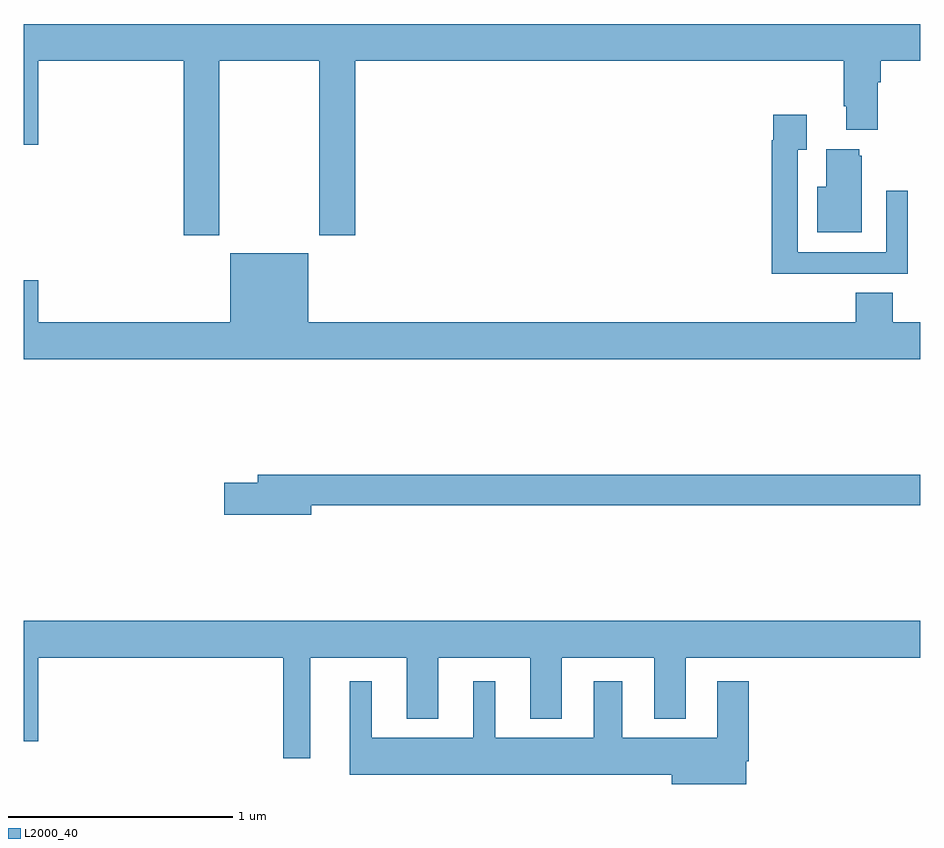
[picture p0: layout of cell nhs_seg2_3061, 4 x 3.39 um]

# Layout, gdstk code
import gdstk
lib = gdstk.Library(unit=1e-6, precision=1e-09)
def P(c, l, *ps):  # polygons
    for p in ps: c.add(gdstk.Polygon(p, *l))
L2000_40 = (2000, 40)

nhs_seg2_3061 = lib.new_cell('nhs_seg2_3061')
P(nhs_seg2_3061, L2000_40, [(273.873,589.028),(274.318,589.028),(274.318,588.249),(274.478,588.249),(274.478,589.028),(276.659,589.028),(276.659,588.826),(276.671,588.826),(276.671,588.719),(276.811,588.719),(276.811,588.932),(276.824,588.932),(276.824,589.028),(277,589.028),(277,589.192),(273,589.192),(273,588.654),(273.064,588.654),(273.064,589.028),(273.713,589.028),(273.713,588.249),(273.873,588.249)],
  [(276.629,588.078),(276.945,588.078),(276.945,588.448),(276.849,588.448),(276.849,588.174),(276.453,588.174),(276.453,588.631),(276.493,588.631),(276.493,588.787),(276.345,588.787),(276.345,588.674),(276.337,588.674),(276.337,588.077),(276.629,588.077)],
  [(276.739,588.603),(276.728,588.603),(276.728,588.634),(276.581,588.634),(276.581,588.466),(276.542,588.466),(276.542,588.263),(276.739,588.263)],
  [(277,587.86),(276.878,587.86),(276.878,587.993),(276.713,587.993),(276.713,587.86),(274.27,587.86),(274.27,588.169),(273.92,588.169),(273.92,587.86),(273.064,587.86),(273.064,588.049),(273,588.049),(273,587.696),(277,587.696)],
  [(274.282,587.044),(277,587.044),(277,587.18),(274.043,587.18),(274.043,587.144),(273.894,587.144),(273.894,587.002),(274.282,587.002)],
  [(273,585.99),(273.064,585.99),(273.064,586.364),(274.158,586.364),(274.158,585.915),(274.279,585.915),(274.279,586.364),(274.709,586.364),(274.709,586.091),(274.849,586.091),(274.849,586.364),(275.261,586.364),(275.261,586.091),(275.401,586.091),(275.401,586.364),(275.813,586.364),(275.813,586.091),(275.953,586.091),(275.953,586.364),(277,586.364),(277,586.528),(273,586.528)],
  [(276.223,585.902),(276.236,585.902),(276.236,586.258),(276.095,586.258),(276.095,586.006),(275.671,586.006),(275.671,586.258),(275.543,586.258),(275.543,586.006),(275.104,586.006),(275.104,586.258),(275.006,586.258),(275.006,586.006),(274.552,586.006),(274.552,586.258),(274.454,586.258),(274.454,585.842),(275.891,585.842),(275.891,585.8),(276.223,585.8)])

lib.write_gds('nhs_seg2_3061.gds')
